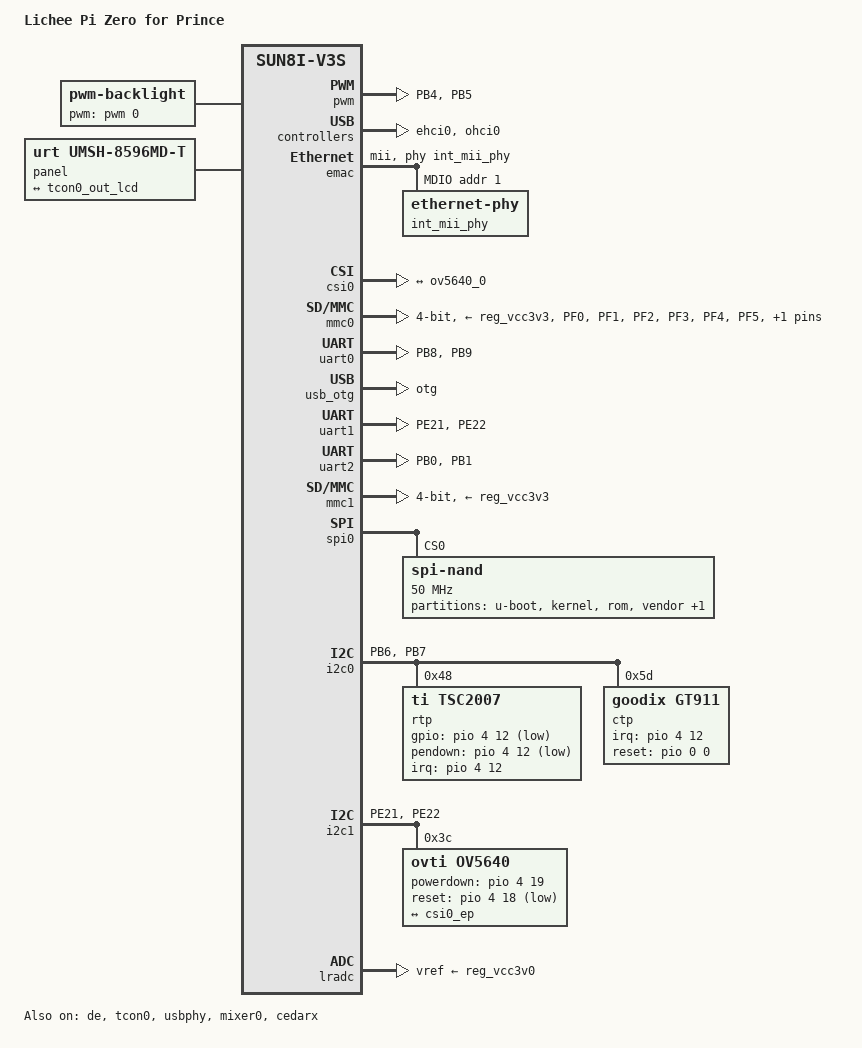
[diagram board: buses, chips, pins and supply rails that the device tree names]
/*
 * Copyright (C) 2016 Icenowy Zheng <icenowy@aosc.xyz>
 *
 * This file is dual-licensed: you can use it either under the terms
 * of the GPL or the X11 license, at your option. Note that this dual
 * licensing only applies to this file, and not this project as a
 * whole.
 *
 *  a) This file is free software; you can redistribute it and/or
 *     modify it under the terms of the GNU General Public License as
 *     published by the Free Software Foundation; either version 2 of the
 *     License, or (at your option) any later version.
 *
 *     This file is distributed in the hope that it will be useful,
 *     but WITHOUT ANY WARRANTY; without even the implied warranty of
 *     MERCHANTABILITY or FITNESS FOR A PARTICULAR PURPOSE.  See the
 *     GNU General Public License for more details.
 *
 * Or, alternatively,
 *
 *  b) Permission is hereby granted, free of charge, to any person
 *     obtaining a copy of this software and associated documentation
 *     files (the "Software"), to deal in the Software without
 *     restriction, including without limitation the rights to use,
 *     copy, modify, merge, publish, distribute, sublicense, and/or
 *     sell copies of the Software, and to permit persons to whom the
 *     Software is furnished to do so, subject to the following
 *     conditions:
 *
 *     The above copyright notice and this permission notice shall be
 *     included in all copies or substantial portions of the Software.
 *
 *     THE SOFTWARE IS PROVIDED "AS IS", WITHOUT WARRANTY OF ANY KIND,
 *     EXPRESS OR IMPLIED, INCLUDING BUT NOT LIMITED TO THE WARRANTIES
 *     OF MERCHANTABILITY, FITNESS FOR A PARTICULAR PURPOSE AND
 *     NONINFRINGEMENT. IN NO EVENT SHALL THE AUTHORS OR COPYRIGHT
 *     HOLDERS BE LIABLE FOR ANY CLAIM, DAMAGES OR OTHER LIABILITY,
 *     WHETHER IN AN ACTION OF CONTRACT, TORT OR OTHERWISE, ARISING
 *     FROM, OUT OF OR IN CONNECTION WITH THE SOFTWARE OR THE USE OR
 *     OTHER DEALINGS IN THE SOFTWARE.
 */

/dts-v1/;
#include "sun8i-v3s.dtsi"
#include "sunxi-common-regulators.dtsi"
#include <dt-bindings/interrupt-controller/arm-gic.h>
#include <dt-bindings/clock/sun8i-v3s-ccu.h>
#include <dt-bindings/reset/sun8i-v3s-ccu.h>
#include <dt-bindings/input/input.h>
#include <dt-bindings/pwm/pwm.h>

/ {
	model = "Lichee Pi Zero for Prince";
	compatible = "licheepi,prince",
	"licheepi,licheepi-zero-dock",
	"licheepi,licheepi-zero",
	"allwinner,sun8i-v3s";

	aliases {
		serial0 = &uart0;
	};

	chosen {
		stdout-path = "serial0:115200n8";

//		simplefb_lcd: framebuffer-lcd0 {
//			compatible = "allwinner,simple-framebuffer",
//				     "simple-framebuffer";
//			allwinner,pipeline = "de_be0-lcd0";
//			clocks = <&ccu CLK_BUS_DE_BE>, <&ccu CLK_DE_BE>,
//				 <&ccu CLK_DRAM_DE_BE>, <&ccu CLK_BUS_LCD>,
//				 <&ccu CLK_TCON>;
//			status = "disabled";
//		};
	};

	leds {
		compatible = "gpio-leds";

//		blue_led {
//			label = "licheepi:blue:usr";
//			gpios = <&pio 1 4 GPIO_ACTIVE_LOW>; /* PB4 */
//			default-state = "on";
//		};
	};

	soc {

		syscon: syscon@1c00000 {
			compatible = "allwinner,sun8i-v3s-system-controller", "allwinner,sun8i-h3-system-control", "syscon";
			reg = <0x01c00000 0xd0>;
			#address-cells = <1>;
			#size-cells = <1>;
			ranges;

			sram_c: sram@1d00000 {
				compatible = "mmio-sram";
				reg = <0x01d00000 0x80000>;
				#address-cells = <1>;
				#size-cells = <1>;
				ranges = <0 0x01d00000 0x80000>;

				ve_sram: sram-section@0 {
					compatible = "allwinner,sun8i-v3s-sram-c", "allwinner,sun4i-a10-sram-c1";
					reg = <0x000000 0x80000>;
				};
			};
		};

		cedarx: video-codec@1c0e000 {
			compatible = "allwinner,sun8i-v3-cedar";
			reg = <0x01c0e000 0x1000>;
			clocks = <&ccu CLK_BUS_VE>, <&ccu CLK_VE>, <&ccu CLK_DRAM_VE>;
			clock-names = "ahb", "mod", "ram";
			resets = <&ccu RST_BUS_VE>;
			interrupts = <GIC_SPI 58 IRQ_TYPE_LEVEL_HIGH>;
			allwinner,sram = <&ve_sram 1>;
			status = "disabled";
		};
				
		ion: ion {
			compatible = "allwinner,sunxi-ion";
			status = "disabled";
			heap_cma@0{
				compatible = "allwinner,cma";
				heap-name  = "cma";
				heap-id    = <0x4>;
				heap-base  = <0x0>;
				heap-size  = <0x0>;
				heap-type  = "ion_cma";
			};
		};

		pwm: pwm@1c21400 {
            compatible = "allwinner,sun8i-h3-pwm";
            reg = <0x01c21400 0x08>;
            clocks = <&osc24M>;
            #pwm-cells = <3>;
            status = "disabled";
        };

		ehci0: usb@01c1a000 {
			compatible = "allwinner,sun8i-v3s-ehci", "generic-ehci";
			reg = <0x01c1a000 0x100>;
			interrupts = <GIC_SPI 72 IRQ_TYPE_LEVEL_HIGH>;
			clocks = <&ccu CLK_BUS_EHCI0>, <&ccu CLK_BUS_OHCI0>;
			resets = <&ccu RST_BUS_EHCI0>, <&ccu RST_BUS_OHCI0>;
			status = "disabled";
		};

		ohci0: usb@01c1a400 {
			compatible = "allwinner,sun8i-v3s-ohci", "generic-ohci";
			reg = <0x01c1a400 0x100>;
			interrupts = <GIC_SPI 73 IRQ_TYPE_LEVEL_HIGH>;
			clocks = <&ccu CLK_BUS_EHCI0>, <&ccu CLK_BUS_OHCI0>,
				 <&ccu CLK_USB_OHCI0>;
			resets = <&ccu RST_BUS_EHCI0>, <&ccu RST_BUS_OHCI0>;
			status = "disabled";
		};

		emac: ethernet@1c30000 {
			compatible = "allwinner,sun8i-v3s-emac";
			syscon = <&syscon>;
			reg = <0x01c30000 0x104>;
			interrupts = <GIC_SPI 82 IRQ_TYPE_LEVEL_HIGH>;
			interrupt-names = "macirq";
			resets = <&ccu RST_BUS_EMAC>;
			reset-names = "stmmaceth";
			clocks = <&ccu CLK_BUS_EMAC>;
			clock-names = "stmmaceth";
			#address-cells = <1>;
			#size-cells = <0>;
			phy-handle = <&int_mii_phy>;
			phy-mode = "mii";
			status = "okay";
			allwinner,leds-active-low;

			mdio: mdio {
				#address-cells = <1>;
				#size-cells = <0>;
				compatible = "snps,dwmac-mdio";
			};

			mdio-mux {
				compatible = "mdio-mux", "allwinner,sun8i-h3-mdio-mux";
				#address-cells = <1>;
				#size-cells = <0>;

				mdio-parent-bus = <&mdio>;

				int_mdio: mdio@1 {
					compatible = "allwinner,sun8i-h3-mdio-internal";
					reg = <1>;
					#address-cells = <1>;
					#size-cells = <0>;

					int_mii_phy: ethernet-phy@1 {
						reg = <1>;
						clocks = <&ccu CLK_BUS_EPHY>;
						resets = <&ccu RST_BUS_EPHY>;
						phy-is-integrated;
					};
				};
			};
		};

		csi0: csi@01cb0000 {
            compatible = "allwinner,sun8i-v3s-csi";
            reg = <0x01cb0000 0x3000>;
            interrupts = <GIC_SPI 83 IRQ_TYPE_LEVEL_HIGH>;
            clocks = <&ccu CLK_BUS_CSI>, <&ccu CLK_CSI1_SCLK>, <&ccu CLK_DRAM_CSI>, <&ccu CLK_MIPI_CSI>;
            clock-names = "bus", "mod", "ram", "dphy";
            resets = <&ccu RST_BUS_CSI>;
            status = "disabled";
        };

        csi1: csi@1cb4000 {
            compatible = "allwinner,sun8i-v3s-csi";
            reg = <0x01cb4000 0x3000>;
            interrupts = <GIC_SPI 84 IRQ_TYPE_LEVEL_HIGH>;
            clocks = <&ccu CLK_BUS_CSI>, <&ccu CLK_CSI1_SCLK>, <&ccu CLK_DRAM_CSI>;
            clock-names = "bus", "mod", "ram";
            resets = <&ccu RST_BUS_CSI>;
            status = "disabled";
        };

		dma: dma-controller@01c02000 {
			compatible = "allwinner,sun8i-v3s-dma";
			reg = <0x01c02000 0x1000>;
			interrupts = <GIC_SPI 50 IRQ_TYPE_LEVEL_HIGH>;
			clocks = <&ccu CLK_BUS_DMA>;
			resets = <&ccu RST_BUS_DMA>;
			#dma-cells = <1>;
		};

		codec: codec@01c22c00 {
			#sound-dai-cells = <0>;
			compatible = "allwinner,sun8i-v3s-codec";
			reg = <0x01c22c00 0x400>;
			interrupts = <GIC_SPI 29 IRQ_TYPE_LEVEL_HIGH>;
			clocks = <&ccu CLK_BUS_CODEC>, <&ccu CLK_AC_DIG>;
			clock-names = "apb", "codec";
			resets = <&ccu RST_BUS_CODEC>;
			dmas = <&dma 15>, <&dma 15>;
			dma-names = "rx", "tx";
			allwinner,codec-analog-controls = <&codec_analog>;
			status = "disabled";
		};

		codec_analog: codec-analog@01c23000 {
			compatible = "allwinner,sun8i-v3s-codec-analog";
			reg = <0x01c23000 0x4>;
		};

		nmi_intc: interrupt-controller@01c000d0 {
            compatible = "allwinner,sun9i-a80-nmi";
            reg = <0x01c000d0 0x0c>;
            interrupt-controller;
            #interrupt-cells = <2>;
            interrupts = <GIC_SPI 32 IRQ_TYPE_LEVEL_HIGH>;
        };
	};

	backlight: backlight {
		compatible = "pwm-backlight";
		pwms = <&pwm 0 1000000 PWM_POLARITY_INVERTED>;
		brightness-levels = <0 30 40 50 60 70 100>;
		default-brightness-level = <6>;
		status = "okay";
	};

	panel: panel {
		#address-cells = <1>;
		#size-cells = <0>;

		port@0 {
			reg = <0>;
			backlight = <&backlight>;
			#address-cells = <1>;
			#size-cells = <0>;

			panel_input: endpoint@0 {
				reg = <0>;
				remote-endpoint = <&tcon0_out_lcd>;
			};
		};
	};

};

&cedarx {
	status = "okay";
};

&ion {
	status = "okay";
};

&panel {
	compatible = "urt,umsh-8596md-t", "simple-panel";
	status = "okay";
};

&de {
	status = "okay";
};

&tcon0 {
	pinctrl-names = "default";
	pinctrl-0 = <&lcd_rgb666_pins_a>;
	status = "okay";
};

&tcon0_out {
	tcon0_out_lcd: endpoint@0 {
		reg = <0>;
		remote-endpoint = <&panel_input>;
	};
};

&pio {
	uart0_pins: uart0@0 {
		pins = "PB8", "PB9";
		function = "uart0";
	};

	uart1_pins: uart1@0 {
		pins = "PE21", "PE22";
		function = "uart1";
		bias-pull-up;
	};

	uart2_pins: uart2@0 {
		pins = "PB0", "PB1";
		function = "uart2";
		bias-pull-up;
	};

	i2c0_pins: i2c0-pins {
		pins = "PB6", "PB7";
		function = "i2c0";
	};

	mmc0_pins_a: mmc0@0 {
		pins = "PF0", "PF1", "PF2", "PF3",
				"PF4", "PF5";
		function = "mmc0";
		drive-strength = <30>;
		bias-pull-up;
	};

	lcd_rgb666_pins_a: lcd-rgb666-pe {
		pins = "PE0", "PE1", "PE2", "PE3", "PE4", "PE5",
				"PE6", "PE7", "PE8", "PE9", "PE10", "PE11",
				"PE12", "PE13", "PE14", "PE15", "PE16", "PE17",
				"PE18", "PE19", "PE23", "PE24";
		function = "lcd";
		drive-strength = <30>;
	};

	pwm0_pins: pwm0 {
        pins = "PB4";
        function = "pwm0";
		drive-strength = <30>;
	};

	pwm1_pins: pwm1 {
		pins = "PB5";
		function = "pwm1";
		drive-strength = <30>;
	};

	csi0_mclk: csi0-mclk@0 {
        pins = "PE20";
        function = "csi_mipi";
    };

	i2c1_pins: i2c1@0 {
        pins = "PE21", "PE22";
        function = "i2c1";
    };

//	csi0_pins: csi0-pins {
//		pins = "PE0", "PE1", "PE2", "PE3", "PE4", "PE5",
//			"PE6","PE7", "PE8", "PE9", "PE10";
//		function = "csi";
//	};
};

&pwm {
        pinctrl-names = "default";
        pinctrl-0 = <&pwm0_pins>, <&pwm1_pins>;
        status = "okay";
};

&ohci0 {
	status = "okay";
};

&ehci0 {
	status = "okay";
};

&mmc0 {
	pinctrl-0 = <&mmc0_pins_a>;
	pinctrl-names = "default";
	cd-gpios = <&pio 5 6 GPIO_ACTIVE_LOW>; /* PF6 */
	bus-width = <4>;
	vmmc-supply = <&reg_vcc3v3>;
	status = "okay";
};

&uart0 {
	pinctrl-0 = <&uart0_pb_pins>;
	pinctrl-names = "default";
	status = "okay";
};

&usb_otg {
	dr_mode = "otg";
	status = "okay";
};

&usbphy {
	usb0_id_det-gpios = <&pio 5 6 GPIO_ACTIVE_HIGH>;
	status = "okay";
};

&emac {
	phy-handle = <&int_mii_phy>;
	phy-mode = "mii";
	allwinner,leds-active-low;
	local-mac-address = [a4 51 29 00 00 05];
	status = "okay";
};

&uart0 {
	pinctrl-0 = <&uart0_pins>;
	pinctrl-names = "default";
	status = "okay";
};

&uart1 {
	pinctrl-0 = <&uart1_pins>;
	pinctrl-names = "default";
	status = "okay";
};

&uart2 {
	pinctrl-0 = <&uart2_pins>;
	pinctrl-names = "default";
	status = "okay";
};

&mmc1 {
	broken-cd;
	bus-width = <4>;
	vmmc-supply = <&reg_vcc3v3>;
	max-frequency = <12500000>;
	status = "okay";
};

&spi0 {
    pinctrl-names = "default";
    pinctrl-0 = <&spi0_pins>;
    status = "okay";

	spi-nor@0 {
		#address-cells = <1>;
		#size-cells = <1>;
		compatible = "winbond,w25q128", "jedec,spi-nor";
		reg = <0>;
		spi-max-frequency = <50000000>;
		status = "disabled";

		partitions {
			compatible = "fixed-partitions";
			#address-cells = <1>;
			#size-cells = <1>;

			partition@0 {
				label = "u-boot";
				reg = <0x000000 0x70000>;
				read-only;
			};

			partition@1 {
				label = "kernel";
				reg = <0x70000 0x590000>;
				read-only;
			};

			partition@2 {
				label = "rom";
				reg = <0x600000 0x700000>;
				read-only;
			};

			partition@3 {
				label = "overlay";
				reg = <0xd00000 0x300000>;
			};
		};
	};

	spi-nand@0 {
		#address-cells = <1>;
		#size-cells = <1>;
		compatible = "spi-nand";
		reg = <0>;
		spi-max-frequency = <50000000>;

		partitions {
			compatible = "fixed-partitions";
			#address-cells = <1>;
			#size-cells = <1>;

			partition@0 {
				label = "u-boot";
				reg = <0x000000 0x100000>;
				read-only;
			};

			partition@1 {
				label = "kernel";
				reg = <0x100000 0x500000>;
				read-only;
			};

			partition@2 {
				label = "rom";
				reg = <0x600000 0x2a00000>;
				read-only;
			};

			partition@3 {
				label = "vendor";
				reg = <0x3000000 0x1000000>;
			};

			partition@4 {
				label = "overlay";
				reg = <0x4000000 0x3000000>;
			};
		};
	};
};

&i2c0 {
	status = "okay";
	pinctrl-names = "default";
    pinctrl-0 = <&i2c0_pins>;

	rtp@48 {
		compatible = "ti,tsc2007";
		reg = <0x48>;
		interrupt-parent = <&pio>;
		interrupts = <4 12 IRQ_TYPE_EDGE_FALLING>;
		gpios = <&pio 4 12 GPIO_ACTIVE_LOW>;
		pendown-gpio = <&pio 4 12 GPIO_ACTIVE_LOW>;
		ti,x-plate-ohms = <660>;
		wakeup-source;
		status = "okay";
	};

	ctp@5d {
		compatible = "goodix,gt911";
		reg = <0x5d>;
		interrupt-parent = <&pio>;
		interrupts = <4 12 IRQ_TYPE_EDGE_FALLING>; // PE12
		irq-gpios = <&pio 4 12 GPIO_ACTIVE_HIGH>; // PE12
		reset-gpios = <&pio 0 0 GPIO_ACTIVE_HIGH>; // PA0
	};
};

&i2c1 {
    status = "okay";
	pinctrl-0 = <&i2c1_pins>;
    ov5640: camera@3c {
        compatible = "ovti,ov5640";
        reg = <0x3c>;
        pinctrl-names = "default";
        pinctrl-0 = <&csi0_mclk>;
        clocks = <&ccu CLK_CSI0_MCLK>;
        clock-names = "xclk";
        assigned-clocks = <&ccu CLK_CSI0_MCLK>;
        assigned-clock-rates = <24000000>;
        powerdown-gpios = <&pio 4 19 GPIO_ACTIVE_HIGH>;
        reset-gpios = <&pio 4 18 GPIO_ACTIVE_LOW>;
        port {
            ov5640_0: endpoint {
                remote-endpoint = <&csi0_ep>;
                clock-lanes = <0>;
                data-lanes = <1 2>;
            };
        };
    };
};

&csi0 {
    status = "okay";
    allwinner,mipi-csi-bps = <400000000>;
    port {
        csi0_ep: endpoint {
            remote-endpoint = <&ov5640_0>;
            clock-lanes = <0>;
            data-lanes = <1 2>;
        };
    };
};

&mixer0 {
    status = "ok";
};

&codec {
    allwinner,audio-routing =
	"Headphone",
	"HP",
	"Headphone",
	"HPCOM",
	"Mic",
	"MIC1",
	"Mic",
	"HBIAS";
};

&lradc {
	vref-supply = <&reg_vcc3v0>;
	status = "okay";

	button-200 {
		label = "Volume Up";
		linux,code = <KEY_VOLUMEUP>;
		channel = <0>;
		voltage = <200000>;
	};

	button-400 {
		label = "Volume Down";
		linux,code = <KEY_VOLUMEDOWN>;
		channel = <0>;
		voltage = <400000>;
	};

	button-600 {
		label = "Select";
		linux,code = <KEY_SELECT>;
		channel = <0>;
		voltage = <600000>;
	};

	button-800 {
		label = "Start";
		linux,code = <KEY_OK>;
		channel = <0>;
		voltage = <800000>;
	};
};
